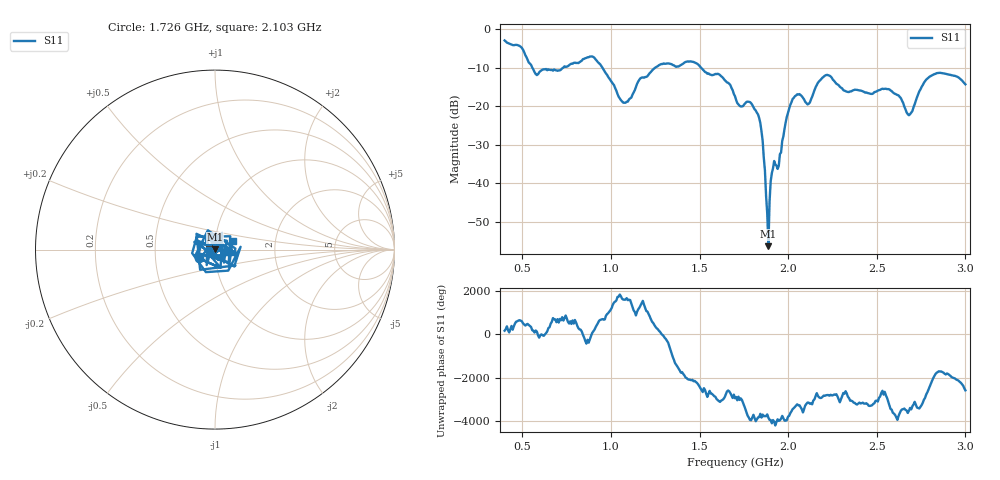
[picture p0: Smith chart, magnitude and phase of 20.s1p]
!Created with skrf (http://scikit-rf.org).
# Hz S RI R 50.0
!freq ReS11 ImS11
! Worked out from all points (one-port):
!   401 points, 400 MHz to 3 GHz, reference 50 ohm
!   lowest |S11| = -56.3 dB at 1.889 GHz (marker M1), VSWR 1.00, Z = 50 + j0.148 ohm
!   |S11| at or under -10 dB: 556.8 MHz to 729.3 MHz (172.5 MHz wide, 26.8 % of centre); 952.5 MHz to 1.249 GHz (296.2 MHz wide, 26.9 % of centre); 1.509 GHz to end of sweep
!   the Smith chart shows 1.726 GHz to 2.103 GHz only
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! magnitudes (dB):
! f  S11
! 400 MHz  -2.9
! 491 MHz  -4.5
! 575.5 MHz  -11.6
! 725 MHz  -10.1
! 900.5 MHz  -7.2
! 1.05 GHz  -18.0
! 1.095 GHz  -18.8
! 1.161 GHz  -13.1
! 1.271 GHz  -9.3
! 1.375 GHz  -9.6
! 1.46 GHz  -8.4
! 1.609 GHz  -11.7
! 1.7 GHz  -17.4
! 1.83 GHz  -22.1
! 1.849 GHz  -26.5
! 1.875 GHz  -43.3
! 1.889 GHz  -56.3
! 1.915 GHz  -36.1
! 1.947 GHz  -35.4
! 1.992 GHz  -22.7
! 2.025 GHz  -18.1
! 2.116 GHz  -19.3
! 2.22 GHz  -11.8
! 2.35 GHz  -16.1
! 2.564 GHz  -15.5
! 2.675 GHz  -22.1
! 2.812 GHz  -12.0
! 3 GHz  -14.3
